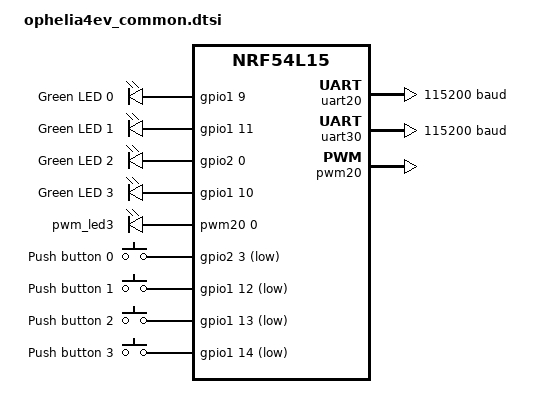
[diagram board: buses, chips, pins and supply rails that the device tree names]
/*
 * Copyright (c) 2025 Würth Elektronik eiSos GmbH & Co. KG
 *
 * SPDX-License-Identifier: Apache-2.0
 */

#include "ophelia4ev_nrf54l15-pinctrl.dtsi"

/ {
	leds {
		compatible = "gpio-leds";

		led0: led_0 {
			gpios = <&gpio1 9 GPIO_ACTIVE_HIGH>;
			label = "Green LED 0";
		};

		led1: led_1 {
			gpios = <&gpio1 11 GPIO_ACTIVE_HIGH>;
			label = "Green LED 1";
		};

		led2: led_2 {
			gpios = <&gpio2 0 GPIO_ACTIVE_HIGH>;
			label = "Green LED 2";
		};

		led3: led_3 {
			gpios = <&gpio1 10 GPIO_ACTIVE_HIGH>;
			label = "Green LED 3";
		};
	};

	pwmleds {
		compatible = "pwm-leds";

		/*
		 * PWM signal can be exposed on GPIO pin only within same domain.
		 * There is only one domain which contains both PWM and GPIO:
		 * PWM20/21/22 and GPIO Port P1.
		 * Only LEDs connected to P1 can work with PWM, for example LED3.
		 */
		pwm_led3: pwm_led_3 {
			pwms = <&pwm20 0 PWM_MSEC(20) PWM_POLARITY_NORMAL>;
		};
	};

	buttons {
		compatible = "gpio-keys";

		button0: button_0 {
			gpios = <&gpio2 3 (GPIO_PULL_UP | GPIO_ACTIVE_LOW)>;
			label = "Push button 0";
			zephyr,code = <INPUT_KEY_0>;
		};

		button1: button_1 {
			gpios = <&gpio1 12 (GPIO_PULL_UP | GPIO_ACTIVE_LOW)>;
			label = "Push button 1";
			zephyr,code = <INPUT_KEY_1>;
		};

		button2: button_2 {
			gpios = <&gpio1 13 (GPIO_PULL_UP | GPIO_ACTIVE_LOW)>;
			label = "Push button 2";
			zephyr,code = <INPUT_KEY_2>;
		};

		button3: button_3 {
			gpios = <&gpio1 14 (GPIO_PULL_UP | GPIO_ACTIVE_LOW)>;
			label = "Push button 3";
			zephyr,code = <INPUT_KEY_3>;
		};
	};

	aliases {
		led0 = &led0;
		led1 = &led1;
		led2 = &led2;
		led3 = &led3;
		pwm-led0 = &pwm_led3;
		sw0 = &button0;
		sw1 = &button1;
		sw2 = &button2;
		sw3 = &button3;
		watchdog0 = &wdt31;
	};
};

&uart20 {
	current-speed = <115200>;
	pinctrl-0 = <&uart20_default>;
	pinctrl-1 = <&uart20_sleep>;
	pinctrl-names = "default", "sleep";
};

&uart30 {
	current-speed = <115200>;
	pinctrl-0 = <&uart30_default>;
	pinctrl-1 = <&uart30_sleep>;
	pinctrl-names = "default", "sleep";
};

&pwm20 {
	status = "okay";
	pinctrl-0 = <&pwm20_default>;
	pinctrl-1 = <&pwm20_sleep>;
	pinctrl-names = "default", "sleep";
};

/* Get a node label for wi-fi spi to use in shield files */
wifi_spi: &spi22 {};
